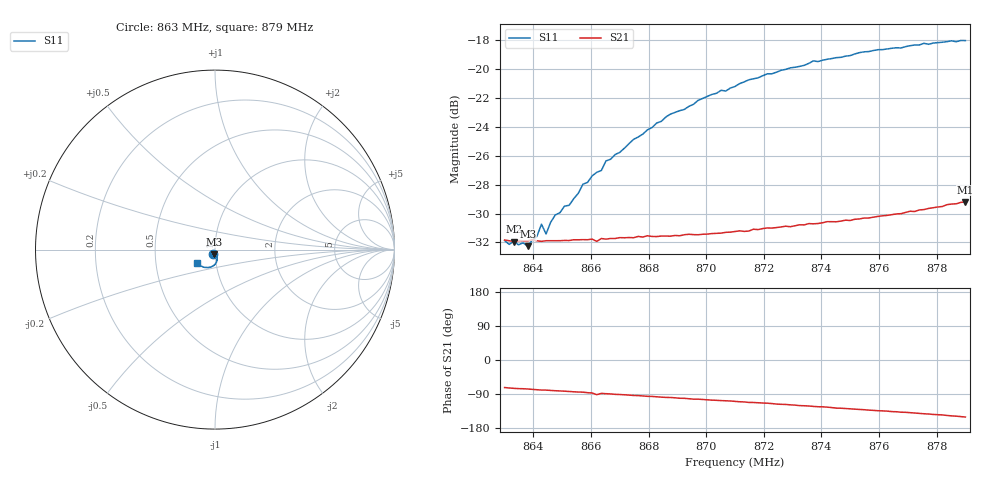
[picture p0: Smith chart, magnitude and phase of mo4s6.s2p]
# HZ S RI R 50
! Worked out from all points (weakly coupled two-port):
!   101 points, 863 MHz to 879 MHz, reference 50 ohm
!   highest |S21| = -29.19 dB at 879 MHz (marker M1); lowest = -31.9 dB at 863.32 MHz (marker M2)
!   lowest |S11| = -32.3 dB at 863.8 MHz (marker M3), VSWR 1.05, Z = 49.4 - j2.35 ohm
!   |S11| at or under -10 dB: start of sweep to end of sweep
!   S12 and S22 are empty: the file has one direction only
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8.63e8  -0.0125 -0.0222  0.00762 -0.0244  0 0  0 0
8.6316e8  -0.0104 -0.0224  0.00709 -0.0244  0 0  0 0
8.6332e8  -0.00984 -0.0234  0.00663 -0.0244  0 0  0 0
8.638e8  -0.00531 -0.0238  0.00596 -0.0247  0 0  0 0
8.6412e8  -0.00244 -0.0262  0.0051 -0.0249  0 0  0 0
8.6428e8  -0.000843 -0.029  0.00471 -0.0249  0 0  0 0
8.6444e8  0.00025 -0.0269  0.00466 -0.025  0 0  0 0
8.646e8  0.00109 -0.0295  0.00429 -0.0251  0 0  0 0
8.6476e8  0.0022 -0.0312  0.00395 -0.0251  0 0  0 0
8.6492e8  0.00458 -0.0315  0.00369 -0.0252  0 0  0 0
8.6508e8  0.00576 -0.0331  0.00342 -0.0253  0 0  0 0
8.6524e8  0.00607 -0.0332  0.0031 -0.0253  0 0  0 0
8.6572e8  0.00896 -0.0389  0.00229 -0.0256  0 0  0 0
8.662e8  0.00917 -0.043  -0.000678 -0.0253  0 0  0 0
8.6636e8  0.01 -0.0435  0.000847 -0.0259  0 0  0 0
8.6652e8  0.0115 -0.0467  0.000504 -0.0258  0 0  0 0
8.6844e8  0.00938 -0.0653  -0.00369 -0.0262  0 0  0 0
8.6972e8  0.0039 -0.078  -0.00618 -0.026  0 0  0 0
8.71e8  -0.00502 -0.087  -0.00903 -0.0259  0 0  0 0
8.7372e8  -0.0351 -0.101  -0.0156 -0.0246  0 0  0 0
8.7644e8  -0.0701 -0.0952  -0.0226 -0.0217  0 0  0 0
8.79e8  -0.1 -0.0762  -0.0302 -0.0171  0 0  0 0
